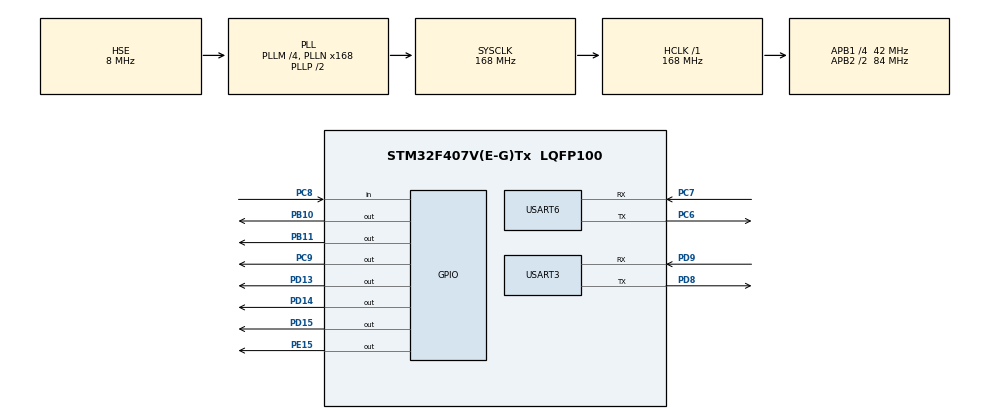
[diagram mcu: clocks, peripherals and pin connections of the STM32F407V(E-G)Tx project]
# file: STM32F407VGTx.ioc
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Dma.Request0=USART6_RX
Dma.Request1=USART6_TX
Dma.Request2=USART3_RX
Dma.Request3=USART3_TX
Dma.USART3_RX.2.Direction=DMA_PERIPH_TO_MEMORY
Dma.USART3_RX.2.FIFOMode=DMA_FIFOMODE_DISABLE
Dma.USART3_RX.2.Instance=DMA1_Stream1
Dma.USART3_RX.2.MemDataAlignment=DMA_MDATAALIGN_BYTE
Dma.USART3_RX.2.MemInc=DMA_MINC_ENABLE
Dma.USART3_RX.2.Mode=DMA_CIRCULAR
Dma.USART3_RX.2.PeriphDataAlignment=DMA_PDATAALIGN_BYTE
Dma.USART3_RX.2.PeriphInc=DMA_PINC_DISABLE
Dma.USART3_RX.2.Priority=DMA_PRIORITY_LOW
Dma.USART3_TX.3.Direction=DMA_MEMORY_TO_PERIPH
Dma.USART3_TX.3.FIFOMode=DMA_FIFOMODE_DISABLE
Dma.USART3_TX.3.Instance=DMA1_Stream3
Dma.USART3_TX.3.MemDataAlignment=DMA_MDATAALIGN_BYTE
Dma.USART3_TX.3.MemInc=DMA_MINC_ENABLE
Dma.USART3_TX.3.Mode=DMA_NORMAL
Dma.USART3_TX.3.PeriphDataAlignment=DMA_PDATAALIGN_BYTE
Dma.USART3_TX.3.PeriphInc=DMA_PINC_DISABLE
Dma.USART3_TX.3.Priority=DMA_PRIORITY_LOW
Dma.USART6_RX.0.Direction=DMA_PERIPH_TO_MEMORY
Dma.USART6_RX.0.FIFOMode=DMA_FIFOMODE_DISABLE
Dma.USART6_RX.0.Instance=DMA2_Stream1
Dma.USART6_RX.0.MemDataAlignment=DMA_MDATAALIGN_BYTE
Dma.USART6_RX.0.MemInc=DMA_MINC_ENABLE
Dma.USART6_RX.0.Mode=DMA_CIRCULAR
Dma.USART6_RX.0.PeriphDataAlignment=DMA_PDATAALIGN_BYTE
Dma.USART6_RX.0.PeriphInc=DMA_PINC_DISABLE
Dma.USART6_RX.0.Priority=DMA_PRIORITY_VERY_HIGH
Dma.USART6_TX.1.Direction=DMA_MEMORY_TO_PERIPH
Dma.USART6_TX.1.FIFOMode=DMA_FIFOMODE_DISABLE
Dma.USART6_TX.1.Instance=DMA2_Stream6
Dma.USART6_TX.1.MemDataAlignment=DMA_MDATAALIGN_BYTE
Dma.USART6_TX.1.MemInc=DMA_MINC_ENABLE
Dma.USART6_TX.1.Mode=DMA_NORMAL
Dma.USART6_TX.1.PeriphDataAlignment=DMA_PDATAALIGN_BYTE
Dma.USART6_TX.1.PeriphInc=DMA_PINC_DISABLE
Dma.USART6_TX.1.Priority=DMA_PRIORITY_VERY_HIGH
Mcu.Family=STM32F4
Mcu.Name=STM32F407V(E-G)Tx
Mcu.Package=LQFP100
Mcu.UserConstants=UART3_BAUDRATE,921600
NVIC.DMA1_Stream1_IRQn=true\:5\:0\:true\:false\:true\:false\:true\:true
NVIC.DMA1_Stream3_IRQn=true\:5\:0\:true\:false\:true\:false\:true\:true
NVIC.DMA2_Stream1_IRQn=true\:5\:0\:true\:false\:true\:false\:true\:true
NVIC.DMA2_Stream6_IRQn=true\:5\:0\:true\:false\:true\:false\:true\:true
NVIC.PVD_IRQn=true\:5\:0\:true\:false\:true\:true\:true\:true
NVIC.PriorityGroup=NVIC_PRIORITYGROUP_4
NVIC.TIM1_UP_TIM10_IRQn=true\:15\:0\:false\:false\:true\:false\:true\:true
NVIC.TimeBase=TIM1_UP_TIM10_IRQn
NVIC.TimeBaseIP=TIM1
NVIC.USART3_IRQn=true\:5\:0\:true\:false\:true\:true\:true\:true
NVIC.USART6_IRQn=true\:5\:0\:true\:false\:true\:true\:true\:true
PA13.Mode=Serial_Wire
PA13.Signal=SYS_JTMS-SWDIO
PA14.Mode=Serial_Wire
PA14.Signal=SYS_JTCK-SWCLK
PB10.GPIO_ModeDefaultOutputPP=GPIO_MODE_OUTPUT_OD
PB10.GPIO_PuPd=GPIO_PULLUP
PB10.GPIO_Speed=GPIO_SPEED_FREQ_VERY_HIGH
PB10.PinState=GPIO_PIN_RESET
PB10.Signal=GPIO_Output
PB11.GPIO_ModeDefaultOutputPP=GPIO_MODE_OUTPUT_OD
PB11.GPIO_PuPd=GPIO_PULLUP
PB11.GPIO_Speed=GPIO_SPEED_FREQ_VERY_HIGH
PB11.PinState=GPIO_PIN_RESET
PB11.Signal=GPIO_Output
PC6.Mode=Asynchronous
PC6.Signal=USART6_TX
PC7.Mode=Asynchronous
PC7.Signal=USART6_RX
PC8.GPIO_PuPd=GPIO_PULLDOWN
PC8.Signal=GPIO_Input
PC9.Signal=GPIO_Output
PD13.Signal=GPIO_Output
PD14.Signal=GPIO_Output
PD15.Signal=GPIO_Output
PD8.Mode=Asynchronous
PD8.Signal=USART3_TX
PD9.Mode=Asynchronous
PD9.Signal=USART3_RX
PE15.GPIO_PuPd=GPIO_PULLDOWN
PE15.Signal=GPIO_Output
PH0-OSC_IN.Mode=HSE-External-Oscillator
PH0-OSC_IN.Signal=RCC_OSC_IN
PH1-OSC_OUT.Mode=HSE-External-Oscillator
PH1-OSC_OUT.Signal=RCC_OSC_OUT
ProjectManager.HeapSize=0x200
ProjectManager.StackSize=0x400
ProjectManager.TargetToolchain=Makefile
RCC.48MHZClocksFreq_Value=84000000
RCC.AHBFreq_Value=168000000
RCC.APB1CLKDivider=RCC_HCLK_DIV4
RCC.APB1Freq_Value=42000000
RCC.APB1TimFreq_Value=84000000
RCC.APB2CLKDivider=RCC_HCLK_DIV2
RCC.APB2Freq_Value=84000000
RCC.APB2TimFreq_Value=168000000
RCC.CortexFreq_Value=168000000
RCC.HCLKFreq_Value=168000000
RCC.HSE_VALUE=8000000
RCC.HSI_VALUE=16000000
RCC.LSE_VALUE=32768
RCC.PLLM=4
RCC.PLLN=168
RCC.PLLSourceVirtual=RCC_PLLSOURCE_HSE
RCC.RCC_RTC_Clock_SourceVirtual=RCC_RTCCLKSOURCE_HSE_DIV8
RCC.RCC_RTC_Clock_Source_FROM_HSE=RCC_RTCCLKSOURCE_HSE_DIV8
RCC.SYSCLKFreq_VALUE=168000000
RCC.SYSCLKSource=RCC_SYSCLKSOURCE_PLLCLK
RCC.VCOOutputFreq_Value=336000000
RTC.AsynchPrediv=124
RTC.SynchPrediv=7999
USART3.BaudRate=UART3_BAUDRATE
USART3.VirtualMode=VM_ASYNC
USART6.VirtualMode=VM_ASYNC
VP_RTC_VS_RTC_Activate.Mode=RTC_Enabled
VP_SYS_VS_tim1.Mode=TIM1
board=custom

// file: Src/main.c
/* USER CODE BEGIN Header */
/**
 ******************************************************************************
 * @file           : main.c
 * @brief          : Main program body
 ******************************************************************************
 * @attention
 *
 * Copyright (c) 2023 STMicroelectronics.
 * All rights reserved.
 *
 * This software is licensed under terms that can be found in the LICENSE file
 * in the root directory of this software component.
 * If no LICENSE file comes with this software, it is provided AS-IS.
 *
 ******************************************************************************
 */
/* USER CODE END Header */
#include "main.h"
#include "dma.h"
#include "rtc.h"
#include "usart.h"
#include "gpio.h"

/* USER CODE BEGIN Includes */
#include "FreeRTOS.h"
#include "task.h"
#include "common_config.h"
/* USER CODE END Includes */

/* USER CODE BEGIN PV */

// =====FreeRTOS Heap Configuragtion======
static uint8_t ucHeapMain[RAM_HEAP_SIZE];
static uint8_t CCMRAM ucHeapExt[CCMRAM_HEAP_SIZE];
const HeapRegion_t xHeapRegions[] = {
    {ucHeapExt, CCMRAM_HEAP_SIZE},
    {ucHeapMain, RAM_HEAP_SIZE},
    {NULL, 0}};
/* USER CODE END PV */

void SystemClock_Config(void);
/* USER CODE BEGIN PFP */
extern void app_main(void);
/* USER CODE END PFP */

/* USER CODE BEGIN 0 */
#ifdef DEBUG
void vApplicationStackOverflowHook(TaskHandle_t xTask, char *pcTaskName)
{
    printf("Stack Overflow: %s\r\n", pcTaskName);
    Error_Handler();
}
#endif
/* USER CODE END 0 */

int main(void)
{

  /* MCU Configuration--------------------------------------------------------*/

  /* Reset of all peripherals, Initializes the Flash interface and the Systick. */
  HAL_Init();

  /* Configure the system clock */
  SystemClock_Config();

  /* Initialize all configured peripherals */
  MX_GPIO_Init();
  MX_DMA_Init();
  MX_USART3_UART_Init();
  MX_USART6_UART_Init();
  MX_RTC_Init();
  /* USER CODE BEGIN 2 */
    // 必须首先初始化堆内存
    vPortDefineHeapRegions(xHeapRegions);
    xTaskCreate(app_main, "main", 512, NULL, 5, NULL);
    vTaskStartScheduler();
  /* USER CODE END 2 */

  /* Infinite loop */
    while (1) {

    }
}

void SystemClock_Config(void)
{
  RCC_OscInitTypeDef RCC_OscInitStruct = {0};
  RCC_ClkInitTypeDef RCC_ClkInitStruct = {0};

  /** Configure the main internal regulator output voltage
  */
  __HAL_RCC_PWR_CLK_ENABLE();
  __HAL_PWR_VOLTAGESCALING_CONFIG(PWR_REGULATOR_VOLTAGE_SCALE1);

  /** Initializes the RCC Oscillators according to the specified parameters
  * in the RCC_OscInitTypeDef structure.
  */
  RCC_OscInitStruct.OscillatorType = RCC_OSCILLATORTYPE_HSE;
  RCC_OscInitStruct.HSEState = RCC_HSE_ON;
  RCC_OscInitStruct.PLL.PLLState = RCC_PLL_ON;
  RCC_OscInitStruct.PLL.PLLSource = RCC_PLLSOURCE_HSE;
  RCC_OscInitStruct.PLL.PLLM = 4;
  RCC_OscInitStruct.PLL.PLLN = 168;
  RCC_OscInitStruct.PLL.PLLP = RCC_PLLP_DIV2;
  RCC_OscInitStruct.PLL.PLLQ = 4;
  if (HAL_RCC_OscConfig(&RCC_OscInitStruct) != HAL_OK)
  {
    Error_Handler();
  }

  /** Initializes the CPU, AHB and APB buses clocks
  */
  RCC_ClkInitStruct.ClockType = RCC_CLOCKTYPE_HCLK|RCC_CLOCKTYPE_SYSCLK
                              |RCC_CLOCKTYPE_PCLK1|RCC_CLOCKTYPE_PCLK2;
  RCC_ClkInitStruct.SYSCLKSource = RCC_SYSCLKSOURCE_PLLCLK;
  RCC_ClkInitStruct.AHBCLKDivider = RCC_SYSCLK_DIV1;
  RCC_ClkInitStruct.APB1CLKDivider = RCC_HCLK_DIV4;
  RCC_ClkInitStruct.APB2CLKDivider = RCC_HCLK_DIV2;

  if (HAL_RCC_ClockConfig(&RCC_ClkInitStruct, FLASH_LATENCY_5) != HAL_OK)
  {
    Error_Handler();
  }
}

void HAL_TIM_PeriodElapsedCallback(TIM_HandleTypeDef *htim)
{
  if (htim->Instance == TIM1) {
    HAL_IncTick();
  }
}

void Error_Handler(void)
{
  /* USER CODE BEGIN Error_Handler_Debug */
    /* User can add his own implementation to report the HAL error return state */
#ifdef DEBUG
    printf("Error Handler\r\n");
#endif
    __disable_irq();
    while (1) {
    }
  /* USER CODE END Error_Handler_Debug */
}
